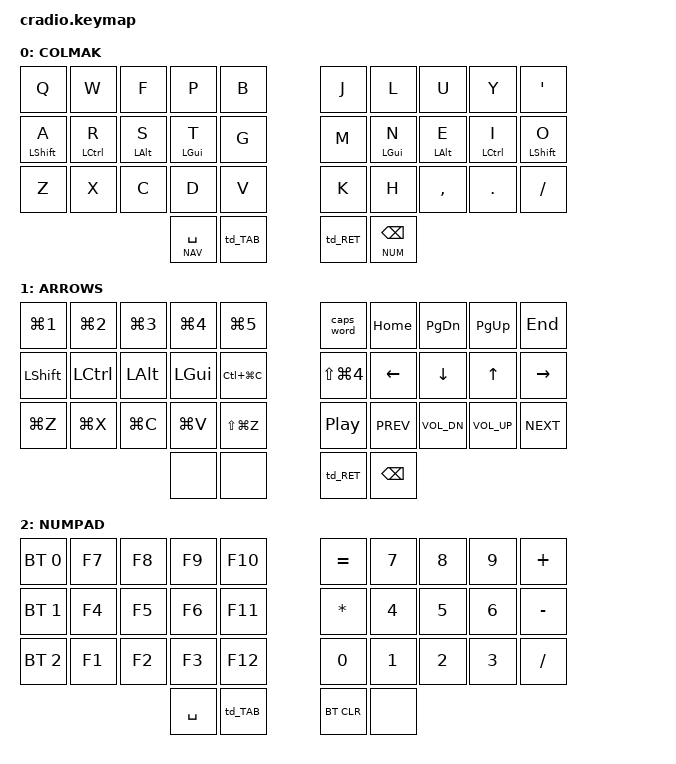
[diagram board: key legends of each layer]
#include <behaviors.dtsi>
#include <dt-bindings/zmk/keys.h>
#include <dt-bindings/zmk/bt.h>

// LAYERS
#define COL 0
#define NAV 1
#define NUM 2

// MACROS
#define U_UNDO  LG(Z)
#define U_CUT   LG(X)
#define U_COPY  LG(C)
#define U_PSTE  LG(V)
#define U_REDO  LS(LG(Z))
#define U_CLIP  LC(LG(C))
#define U_SHOT  LS(LG(N4))

// CONFIGURATION
#define COMBO(NAME, KEYPOS) \
  combo_##NAME { \
      timeout-ms = <40>; \
      key-positions = <KEYPOS>; \
      bindings = <&kp NAME>; \
  };

&lt {
  flavor = "tap-preferred";
  tapping-term-ms = <200>;
  quick-tap-ms = <0>;
};

&caps_word {
  continue-list = <UNDERSCORE MINUS>;
};

// KEYMAP
/ {
  behaviors {
    hm: homerow_mods {
      compatible = "zmk,behavior-hold-tap";
      label = "HOMEROW_MODS";
      #binding-cells = <2>;
      tapping-term-ms = <200>;
      quick_tap_ms = <0>;
      flavor = "tap-preferred";
      bindings = <&kp>, <&kp>;
    };

    td_TAB: tap_dance_tab {
          compatible = "zmk,behavior-tap-dance";
          #binding-cells = <0>;
          tapping-term-ms = <180>;
          bindings = <&kp TAB>, <&kp ESC>;
      };
  
    td_RET: tap_dance_ret {
          compatible = "zmk,behavior-tap-dance";
          #binding-cells = <0>;
          tapping-term-ms = <170>;
          bindings = <&kp RET>, <&kp DEL>;
      };
  };
  
  combos {
    compatible = "zmk,combos";
    
    // Left-hand combos
    COMBO(AT_SIGN, 1 2)
    COMBO(LEFT_BRACE, 2 3)
    COMBO(EXCLAMATION, 1 11)
    COMBO(HASH, 2 12)
    COMBO(DOLLAR, 3 13)
    COMBO(GRAVE, 10 11)
    COMBO(COLON, 11 12)
    COMBO(LEFT_PARENTHESIS, 12 13)
    COMBO(PERCENT, 11 21)
    COMBO(CARET, 12 22)
    COMBO(AMPERSAND, 13 23)
    COMBO(TILDE, 20 21)
    COMBO(SEMICOLON, 21 22)
    COMBO(LEFT_BRACKET, 22 23) 

    // Right-hand combos
    COMBO(RIGHT_BRACE, 6 7)
    COMBO(DOUBLE_QUOTES, 7 8)
    COMBO(EQUAL, 6 16)
    COMBO(PIPE, 7 17)
    COMBO(BACKSLASH, 8 18)
    COMBO(RIGHT_PARENTHESIS, 16 17)
    COMBO(MINUS, 17 18)
    COMBO(KP_PLUS, 18 19)
    COMBO(ASTERISK, 16 26)
    COMBO(LESS_THAN, 17 27)
    COMBO(GREATER_THAN, 18 28)
    COMBO(RIGHT_BRACKET, 26 27)
    COMBO(UNDERSCORE, 27 28)
    COMBO(QUESTION, 28 29)
  };

  keymap {
    compatible = "zmk,keymap";

    col_layer {
      label = "COLMAK";
      bindings = <
        &kp Q       &kp W       &kp F       &kp P         &kp B       &kp J   &kp L        &kp U      &kp Y       &kp SQT
        &hm LSHFT A &hm LCTRL R &hm LALT S  &hm LGUI T    &kp G       &kp M   &hm LGUI N   &hm LALT E &hm LCTRL I &hm LSHFT O
        &kp Z       &kp X       &kp C       &kp D         &kp V       &kp K   &kp H        &kp COMMA  &kp DOT     &kp FSLH
                                            &lt NAV SPACE &td_TAB     &td_RET &lt NUM BSPC
      >;
    };

    nav_layer {
      label = "ARROWS";
      bindings = <
        &kp LG(N1) &kp LG(N2) &kp LG(N3) &kp LG(N4) &kp LG(N5)     &caps_word &kp HOME   &kp PG_DN    &kp PG_UP    &kp END
        &kp LSHFT  &kp LCTRL  &kp LALT   &kp LGUI   &kp U_CLIP     &kp U_SHOT &kp LEFT   &kp DOWN     &kp UP       &kp RIGHT
        &kp U_UNDO &kp U_CUT  &kp U_COPY &kp U_PSTE &kp U_REDO     &kp C_PP   &kp C_PREV &kp C_VOL_DN &kp C_VOL_UP &kp C_NEXT
                                         &none      &none          &td_RET    &kp BSPC
      >;
    };

    num_layer {
      label = "NUMPAD";
      bindings = <
        &bt BT_SEL 0 &kp F7 &kp F8  &kp F9    &kp F10     &kp EQUAL  &kp N7 &kp N8 &kp N9 &kp PLUS
        &bt BT_SEL 1 &kp F4 &kp F5  &kp F6    &kp F11     &kp ASTRK  &kp N4 &kp N5 &kp N6 &kp MINUS
        &bt BT_SEL 2 &kp F1 &kp F2  &kp F3    &kp F12     &kp N0     &kp N1 &kp N2 &kp N3 &kp FSLH
                                    &kp SPACE &td_TAB     &bt BT_CLR &none
      >;
    };
  };
};
